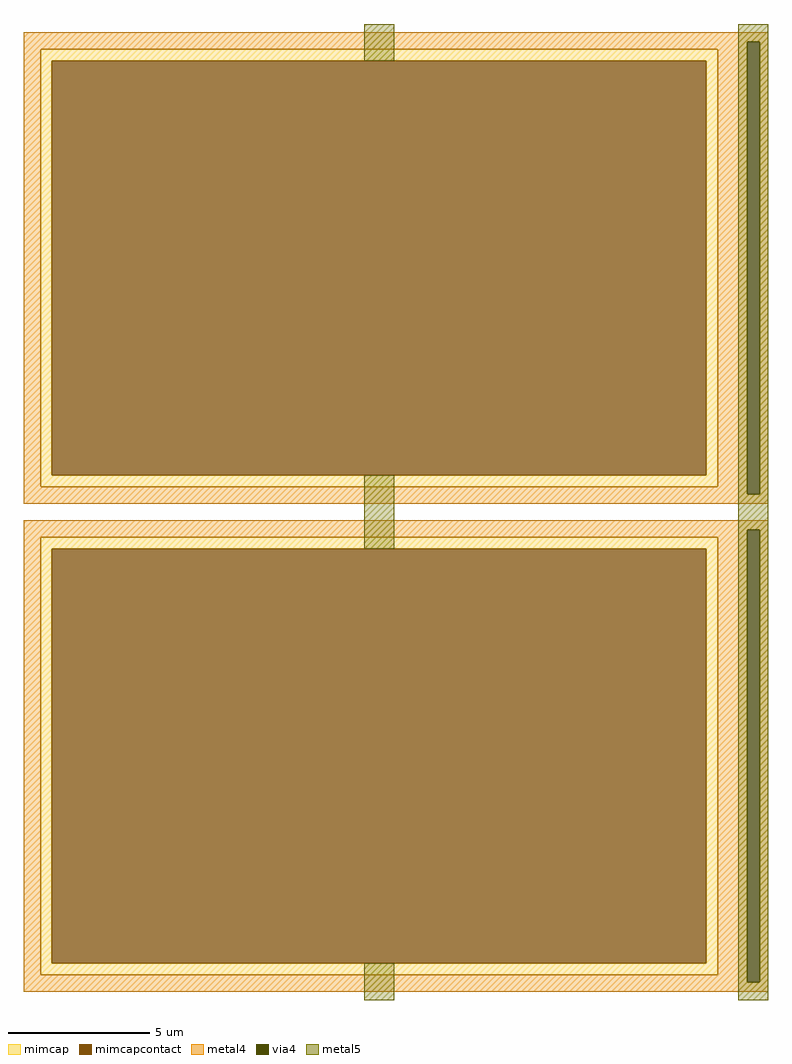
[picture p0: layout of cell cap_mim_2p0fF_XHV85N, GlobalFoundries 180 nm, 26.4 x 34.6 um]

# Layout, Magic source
magic
tech gf180mcuC
magscale 1 10
<< mimcap >>
rect -2520 3200 2280 3280
rect -2520 260 -2440 3200
rect 2200 260 2280 3200
rect -2520 180 2280 260
rect -2520 -260 2280 -180
rect -2520 -3200 -2440 -260
rect 2200 -3200 2280 -260
rect -2520 -3280 2280 -3200
<< mimcapcontact >>
rect -2440 260 2200 3200
rect -2440 -3200 2200 -260
<< metal4 >>
rect -2640 3333 2640 3400
rect -2640 3280 2490 3333
rect -2640 180 -2520 3280
rect 2280 180 2490 3280
rect -2640 127 2490 180
rect 2578 127 2640 3333
rect -2640 60 2640 127
rect -2640 -127 2640 -60
rect -2640 -180 2490 -127
rect -2640 -3280 -2520 -180
rect 2280 -3280 2490 -180
rect -2640 -3333 2490 -3280
rect 2578 -3333 2640 -127
rect -2640 -3400 2640 -3333
<< via4 >>
rect 2490 127 2578 3333
rect 2490 -3333 2578 -127
<< metal5 >>
rect -226 3200 -14 3460
rect 2428 3333 2640 3460
rect -226 -260 -14 260
rect 2428 127 2490 3333
rect 2578 127 2640 3333
rect 2428 -127 2640 127
rect -226 -3460 -14 -3200
rect 2428 -3333 2490 -127
rect 2578 -3333 2640 -127
rect 2428 -3460 2640 -3333
<< properties >>
string FIXED_BBOX -2640 60 2400 3400
string gencell cap_mim_2p0fF
string library gf180mcu
string parameters w 24 l 15.5 val 10.88k carea 25.00 cperi 20.00 nx 1 ny 2 dummy 0 square 0 lmin 5.00 wmin 5.00 lmax 100.0 wmax 100.0 dc 0 bconnect 1 tconnect 1
<< end >>
